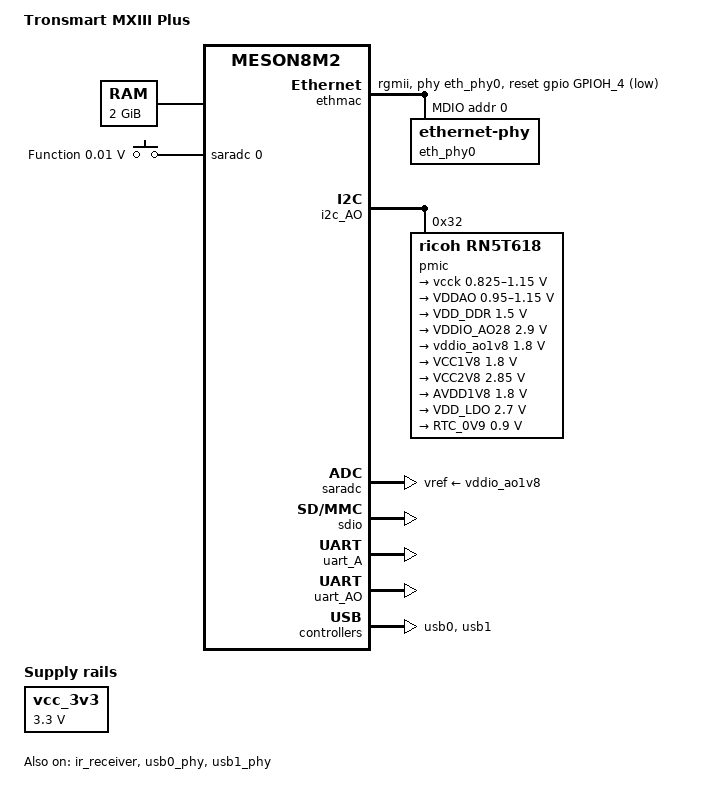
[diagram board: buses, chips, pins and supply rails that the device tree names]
// SPDX-License-Identifier: (GPL-2.0+ OR MIT)
/*
 * Copyright (c) 2018 Oleg Ivanov <balbes-150@yandex.ru>
 * Copyright (c) 2018 Martin Blumenstingl <martin.blumenstingl@googlemail.com>
 */

/dts-v1/;

#include "meson8m2.dtsi"

#include <dt-bindings/gpio/gpio.h>
#include <dt-bindings/input/input.h>

/ {
	model = "Tronsmart MXIII Plus";
	compatible = "tronsmart,mxiii-plus", "amlogic,meson8m2";

	aliases {
		ethernet0 = &ethmac;
		i2c0 = &i2c_AO;
		serial0 = &uart_AO;
		serial1 = &uart_A;
		mmc0 = &sd_card_slot;
	};

	chosen {
		stdout-path = "serial0:115200n8";
	};

	memory {
		reg = <0x40000000 0x80000000>;
	};

	adc-keys {
		compatible = "adc-keys";
		io-channels = <&saradc 0>;
		io-channel-names = "buttons";
		keyup-threshold-microvolt = <1710000>;

		button-function {
			label = "Function";
			linux,code = <KEY_FN>;
			press-threshold-microvolt = <10000>;
		};
	};

	vcc_3v3: regulator-vcc3v3 {
		compatible = "regulator-fixed";
		regulator-name = "VCC3V3";
		regulator-min-microvolt = <3300000>;
		regulator-max-microvolt = <3300000>;
	};
};

&cpu0 {
	cpu-supply = <&vcck>;
};

&ethmac {
	status = "okay";

	pinctrl-0 = <&eth_rgmii_pins>;
	pinctrl-names = "default";

	phy-handle = <&eth_phy0>;
	phy-mode = "rgmii";

	amlogic,tx-delay-ns = <4>;

	snps,reset-gpio = <&gpio GPIOH_4 0>;
	snps,reset-delays-us = <0 10000 1000000>;
	snps,reset-active-low;

	mdio {
		compatible = "snps,dwmac-mdio";
		#address-cells = <1>;
		#size-cells = <0>;

		eth_phy0: ethernet-phy@0 {
			/* Realtek RTL8211F (0x001cc916) */
			reg = <0>;
		};
	};
};

&ir_receiver {
	status = "okay";
	pinctrl-0 = <&ir_recv_pins>;
	pinctrl-names = "default";
};

&i2c_AO {
	status = "okay";
	pinctrl-0 = <&i2c_ao_pins>;
	pinctrl-names = "default";

	pmic@32 {
		compatible = "ricoh,rn5t618";
		reg = <0x32>;
		system-power-controller;

		regulators {
			vcck: DCDC1 {
				regulator-name = "VCCK";
				regulator-min-microvolt = <825000>;
				regulator-max-microvolt = <1150000>;
				regulator-boot-on;
				regulator-always-on;
			};

			DCDC2 {
				regulator-name = "VDDAO";
				regulator-min-microvolt = <950000>;
				regulator-max-microvolt = <1150000>;
				regulator-boot-on;
				regulator-always-on;
			};

			DCDC3 {
				regulator-name = "VDD_DDR";
				regulator-min-microvolt = <1500000>;
				regulator-max-microvolt = <1500000>;
				regulator-boot-on;
				regulator-always-on;
			};

			LDO1 {
				regulator-name = "VDDIO_AO28";
				regulator-min-microvolt = <2900000>;
				regulator-max-microvolt = <2900000>;
				regulator-boot-on;
				regulator-always-on;
			};

			vddio_ao1v8: LDO2 {
				regulator-name = "VDDIO_AO18";
				regulator-min-microvolt = <1800000>;
				regulator-max-microvolt = <1800000>;
				regulator-boot-on;
				regulator-always-on;
			};

			LDO3 {
				regulator-name = "VCC1V8";
				regulator-min-microvolt = <1800000>;
				regulator-max-microvolt = <1800000>;
				regulator-boot-on;
				regulator-always-on;
			};

			LDO4 {
				regulator-name = "VCC2V8";
				regulator-min-microvolt = <2850000>;
				regulator-max-microvolt = <2850000>;
				regulator-boot-on;
				regulator-always-on;
			};

			LDO5 {
				regulator-name = "AVDD1V8";
				regulator-min-microvolt = <1800000>;
				regulator-max-microvolt = <1800000>;
				regulator-boot-on;
				regulator-always-on;
			};

			LDORTC1 {
				regulator-name = "VDD_LDO";
				regulator-min-microvolt = <2700000>;
				regulator-max-microvolt = <2700000>;
				regulator-boot-on;
				regulator-always-on;
			};

			LDORTC2 {
				regulator-name = "RTC_0V9";
				regulator-min-microvolt = <900000>;
				regulator-max-microvolt = <900000>;
				regulator-boot-on;
				regulator-always-on;
			};
		};
	};
};

&saradc {
	status = "okay";
	vref-supply = <&vddio_ao1v8>;
};

&sdio {
	status = "okay";

	pinctrl-0 = <&sd_b_pins>;
	pinctrl-names = "default";

	/* SD card */
	sd_card_slot: slot@1 {
		compatible = "mmc-slot";
		reg = <1>;
		status = "okay";

		bus-width = <4>;
		no-sdio;
		cap-mmc-highspeed;
		cap-sd-highspeed;
		disable-wp;

		cd-gpios = <&gpio CARD_6 GPIO_ACTIVE_LOW>;

		vmmc-supply = <&vcc_3v3>;
	};
};

/* connected to the Bluetooth module */
&uart_A {
	status = "okay";
	pinctrl-0 = <&uart_a1_pins>, <&uart_a1_cts_rts_pins>;
	pinctrl-names = "default";
	uart-has-rtscts;
};

&uart_AO {
	status = "okay";
	pinctrl-0 = <&uart_ao_a_pins>;
	pinctrl-names = "default";
};

&usb0 {
	status = "okay";
};

&usb1 {
	status = "okay";
};

&usb0_phy {
	status = "okay";
};

&usb1_phy {
	status = "okay";
};
